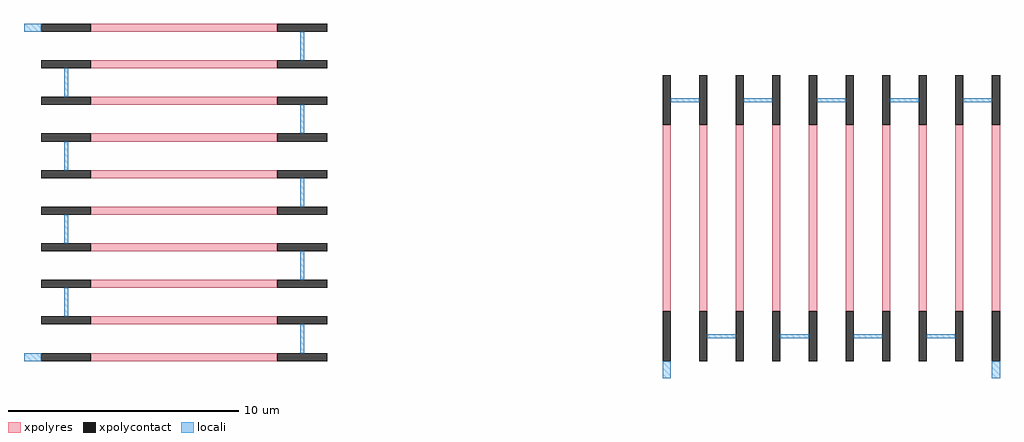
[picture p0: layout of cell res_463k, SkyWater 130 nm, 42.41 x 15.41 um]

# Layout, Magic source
magic
tech sky130A
<< xpolycontact >>
rect 0 1431 216 1466
rect 1026 1431 1242 1466
rect 0 1272 216 1307
rect 1026 1272 1242 1307
rect 0 1113 216 1148
rect 1026 1113 1242 1148
rect 2700 1026 2735 1242
rect 0 954 216 989
rect 1026 954 1242 989
rect 0 795 216 830
rect 1026 795 1242 830
rect 0 636 216 671
rect 1026 636 1242 671
rect 0 477 216 512
rect 1026 477 1242 512
rect 0 318 216 353
rect 1026 318 1242 353
rect 0 159 216 194
rect 1026 159 1242 194
rect 0 0 216 35
rect 1026 0 1242 35
rect 2700 0 2735 216
rect 2859 1026 2894 1242
rect 2859 0 2894 216
rect 3018 1026 3053 1242
rect 3018 0 3053 216
rect 3177 1026 3212 1242
rect 3177 0 3212 216
rect 3336 1026 3371 1242
rect 3336 0 3371 216
rect 3495 1026 3530 1242
rect 3495 0 3530 216
rect 3654 1026 3689 1242
rect 3654 0 3689 216
rect 3813 1026 3848 1242
rect 3813 0 3848 216
rect 3972 1026 4007 1242
rect 3972 0 4007 216
rect 4131 1026 4166 1242
rect 4131 0 4166 216
<< xpolyres >>
rect 216 1431 1026 1466
rect 216 1272 1026 1307
rect 216 1113 1026 1148
rect 216 954 1026 989
rect 216 795 1026 830
rect 216 636 1026 671
rect 216 477 1026 512
rect 216 318 1026 353
rect 2700 216 2735 1026
rect 216 159 1026 194
rect 216 0 1026 35
rect 2859 216 2894 1026
rect 3018 216 3053 1026
rect 3177 216 3212 1026
rect 3336 216 3371 1026
rect 3495 216 3530 1026
rect 3654 216 3689 1026
rect 3813 216 3848 1026
rect 3972 216 4007 1026
rect 4131 216 4166 1026
<< locali >>
rect -75 1431 0 1466
rect 1125 1307 1142 1431
rect 100 1148 117 1272
rect 1125 989 1142 1113
rect 2735 1125 2859 1142
rect 3053 1125 3177 1142
rect 3371 1125 3495 1142
rect 3689 1125 3813 1142
rect 4007 1125 4131 1142
rect 100 830 117 954
rect 1125 671 1142 795
rect 100 512 117 636
rect 1125 353 1142 477
rect 100 194 117 318
rect 1125 35 1142 159
rect -75 0 0 35
rect 2894 100 3018 117
rect 3212 100 3336 117
rect 3530 100 3654 117
rect 3848 100 3972 117
rect 2700 -75 2735 0
rect 4131 -75 4166 0
<< end >>
